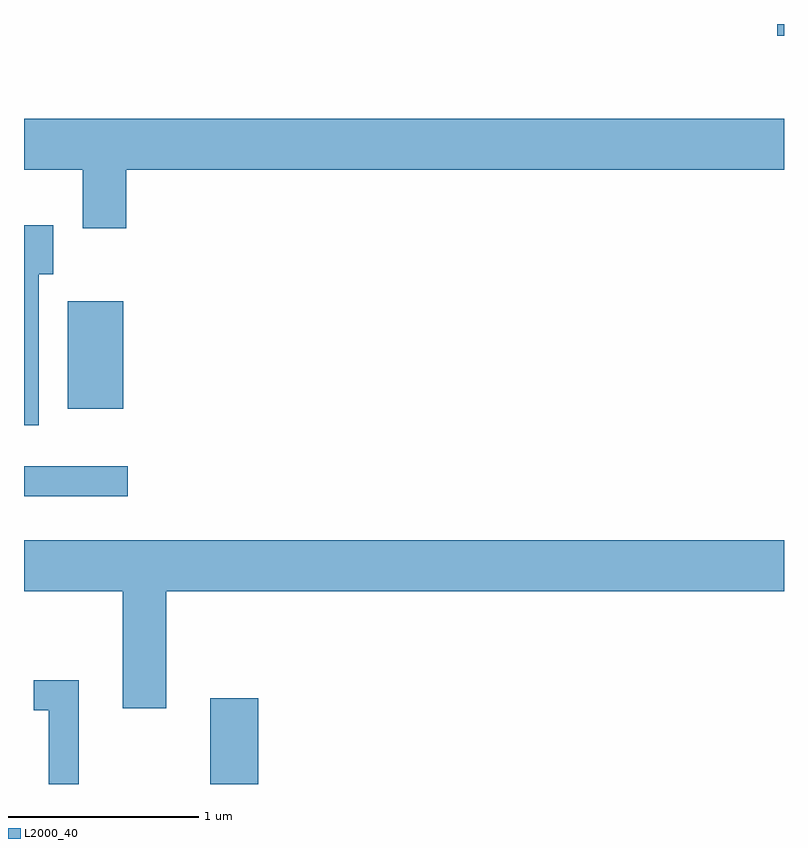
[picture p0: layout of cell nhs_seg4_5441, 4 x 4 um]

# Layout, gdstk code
import gdstk
lib = gdstk.Library(unit=1e-6, precision=1e-09)
def R(c, l, rs):  # rectangles x0, y0, x1, y1
    for r in rs: c.add(gdstk.rectangle(r[:2], r[2:], *l))
def P(c, l, *ps):  # polygons
    for p in ps: c.add(gdstk.Polygon(p, *l))
L2000_40 = (2000, 40)

nhs_seg4_5441 = lib.new_cell('nhs_seg4_5441')
R(nhs_seg4_5441, L2000_40, [(346.591,1255.982,346.844,1256.434), (345.611,1257.496,346.158,1257.654), (345.841,1257.956,346.134,1258.524), (349.576,1259.921,349.611,1259.982)])
P(nhs_seg4_5441, L2000_40, [(346.149,1259.216),(349.611,1259.216),(349.611,1259.484),(345.611,1259.484),(345.611,1259.216),(345.921,1259.216),(345.921,1258.906),(346.149,1258.906)],
  [(345.689,1258.666),(345.764,1258.666),(345.764,1258.924),(345.611,1258.924),(345.611,1257.871),(345.689,1257.871)],
  [(346.359,1256.996),(349.611,1256.996),(349.611,1257.264),(345.611,1257.264),(345.611,1256.996),(346.131,1256.996),(346.131,1256.381),(346.359,1256.381)],
  [(345.899,1256.529),(345.663,1256.529),(345.663,1256.371),(345.741,1256.371),(345.741,1255.982),(345.899,1255.982)])

lib.write_gds('nhs_seg4_5441.gds')
